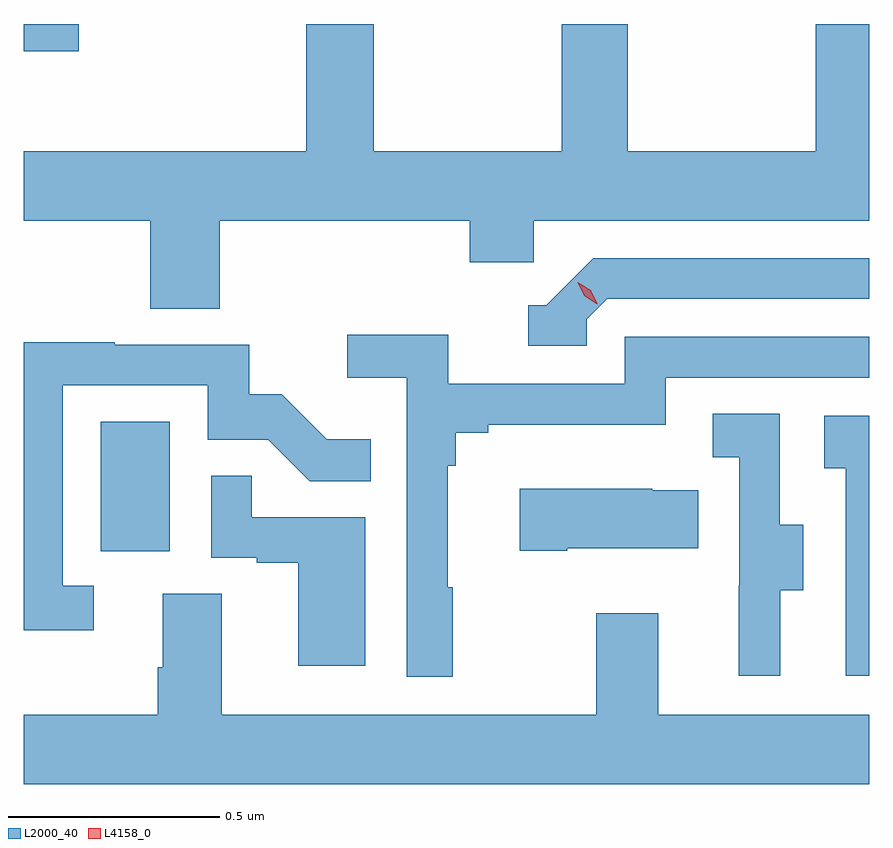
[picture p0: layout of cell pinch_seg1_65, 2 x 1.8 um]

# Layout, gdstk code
import gdstk
lib = gdstk.Library(unit=1e-6, precision=1e-09)
def R(c, l, rs):  # rectangles x0, y0, x1, y1
    for r in rs: c.add(gdstk.rectangle(r[:2], r[2:], *l))
def P(c, l, *ps):  # polygons
    for p in ps: c.add(gdstk.Polygon(p, *l))
L2000_40 = (2000, 40)
L4158_0 = (4158, 0)

pinch_seg1_65 = lib.new_cell('pinch_seg1_65')
R(pinch_seg1_65, L2000_40, [(1045.994,569.598,1046.158,569.905), (1045.812,570.78,1045.942,570.845)])
P(pinch_seg1_65, L2000_40, [(1046.276,570.38),(1046.867,570.38),(1046.867,570.282),(1047.018,570.282),(1047.018,570.38),(1047.812,570.38),(1047.812,570.845),(1047.685,570.845),(1047.685,570.544),(1047.24,570.544),(1047.24,570.845),(1047.085,570.845),(1047.085,570.544),(1046.64,570.544),(1046.64,570.845),(1046.48,570.845),(1046.48,570.544),(1045.812,570.544),(1045.812,570.38),(1046.111,570.38),(1046.111,570.172),(1046.276,570.172)],
  [(1047.144,570.147),(1047.192,570.195),(1047.812,570.195),(1047.812,570.291),(1047.159,570.291),(1047.048,570.18),(1047.005,570.18),(1047.005,570.084),(1047.144,570.084)],
  [(1046.827,569.513),(1046.815,569.513),(1046.815,569.801),(1046.834,569.801),(1046.834,569.878),(1046.911,569.878),(1046.911,569.897),(1047.33,569.897),(1047.33,570.009),(1047.812,570.009),(1047.812,570.105),(1047.234,570.105),(1047.234,569.994),(1046.816,569.994),(1046.816,570.11),(1046.577,570.11),(1046.577,570.008),(1046.718,570.008),(1046.718,569.301),(1046.827,569.301)],
  [(1045.978,569.517),(1045.905,569.517),(1045.905,569.991),(1046.247,569.991),(1046.247,569.862),(1046.391,569.862),(1046.489,569.764),(1046.633,569.764),(1046.633,569.863),(1046.529,569.863),(1046.422,569.97),(1046.346,569.97),(1046.346,570.087),(1046.027,570.087),(1046.027,570.092),(1045.812,570.092),(1045.812,569.412),(1045.978,569.412)],
  [(1047.601,569.506),(1047.655,569.506),(1047.655,569.661),(1047.6,569.661),(1047.6,569.924),(1047.441,569.924),(1047.441,569.821),(1047.504,569.821),(1047.504,569.517),(1047.503,569.517),(1047.503,569.304),(1047.601,569.304)],
  [(1047.812,569.919),(1047.705,569.919),(1047.705,569.795),(1047.756,569.795),(1047.756,569.304),(1047.812,569.304)],
  [(1046.62,569.679),(1046.351,569.679),(1046.351,569.777),(1046.256,569.777),(1046.256,569.583),(1046.363,569.583),(1046.363,569.571),(1046.462,569.571),(1046.462,569.328),(1046.62,569.328)],
  [(1047.097,569.606),(1047.407,569.606),(1047.407,569.743),(1047.299,569.743),(1047.299,569.746),(1046.985,569.746),(1046.985,569.599),(1047.097,569.599)],
  [(1047.812,569.212),(1047.313,569.212),(1047.313,569.452),(1047.166,569.452),(1047.166,569.212),(1046.281,569.212),(1046.281,569.498),(1046.141,569.498),(1046.141,569.324),(1046.129,569.324),(1046.129,569.212),(1045.812,569.212),(1045.812,569.048),(1047.812,569.048)])
P(pinch_seg1_65, L4158_0, [(1047.169,570.182),(1047.138,570.202),(1047.122,570.234),(1047.122,570.234),(1047.122,570.234),(1047.153,570.215),(1047.169,570.183),(1047.169,570.182)])

lib.write_gds('pinch_seg1_65.gds')
